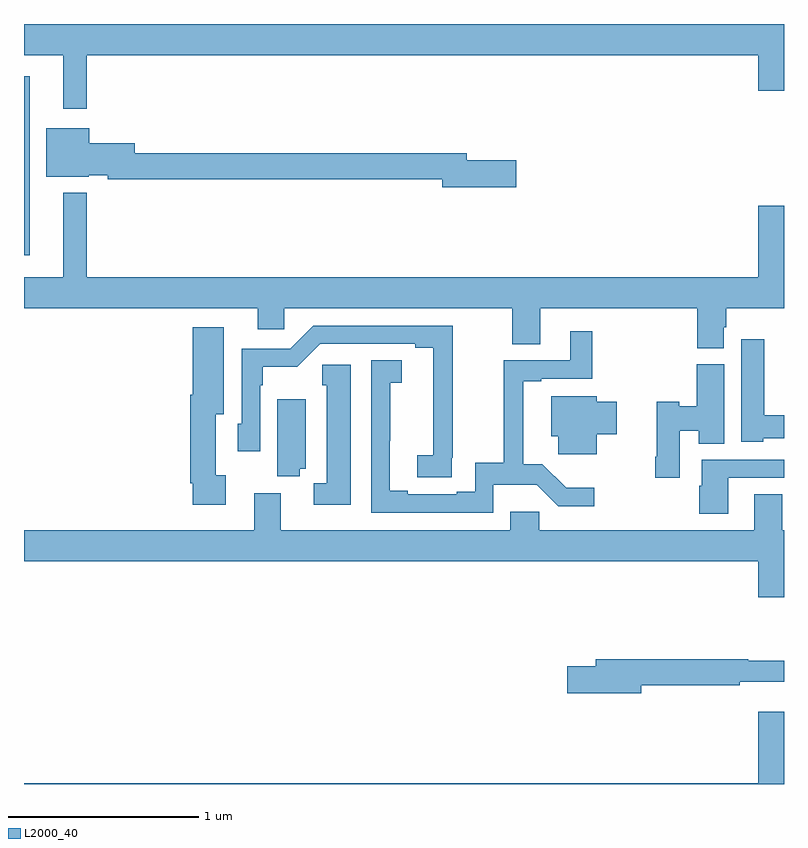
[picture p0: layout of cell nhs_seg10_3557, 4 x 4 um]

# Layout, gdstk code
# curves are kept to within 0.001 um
import gdstk
lib = gdstk.Library(unit=1e-6, precision=1e-09)
def R(c, l, rs):  # rectangles x0, y0, x1, y1
    for r in rs: c.add(gdstk.rectangle(r[:2], r[2:], *l))
def P(c, l, *ps):  # polygons
    for p in ps: c.add(gdstk.Polygon(p, *l))
L2000_40 = (2000, 40)

nhs_seg10_3557 = lib.new_cell('nhs_seg10_3557')
R(nhs_seg10_3557, L2000_40, [(305,1279.283,305.029,1280.224)])
P(nhs_seg10_3557, L2000_40, [(305.329,1280.336),(308.864,1280.336),(308.864,1280.148),(309,1280.148),(309,1280.5),(305,1280.5),(305,1280.336),(305.207,1280.336),(305.207,1280.055),(305.329,1280.055)],
  [(307.591,1279.784),(307.33,1279.784),(307.33,1279.82),(305.584,1279.82),(305.584,1279.873),(305.344,1279.873),(305.344,1279.951),(305.117,1279.951),(305.117,1279.697),(305.34,1279.697),(305.34,1279.703),(305.44,1279.703),(305.44,1279.684),(307.202,1279.684),(307.202,1279.642),(307.591,1279.642)],
  [(308.683,1278.903),(308.696,1278.903),(308.696,1279.004),(309,1279.004),(309,1279.543),(308.864,1279.543),(308.864,1279.168),(305.329,1279.168),(305.329,1279.612),(305.207,1279.612),(305.207,1279.168),(305,1279.168),(305,1279.004),(306.23,1279.004),(306.23,1278.894),(306.369,1278.894),(306.369,1279.004),(307.57,1279.004),(307.57,1278.814),(307.717,1278.814),(307.717,1279.004),(308.543,1279.004),(308.543,1278.793),(308.683,1278.793)],
  [(307.25,1278.217),(307.256,1278.217),(307.256,1278.912),(306.522,1278.912),(306.402,1278.792),(306.147,1278.792),(306.147,1278.396),(306.126,1278.396),(306.126,1278.252),(306.243,1278.252),(306.243,1278.599),(306.256,1278.599),(306.256,1278.695),(306.437,1278.695),(306.558,1278.816),(307.058,1278.816),(307.058,1278.796),(307.154,1278.796),(307.153,1278.23),(307.071,1278.23),(307.071,1278.115),(307.25,1278.115)],
  [(306.061,1278.126),(306.01,1278.126),(306.01,1278.446),(306.052,1278.446),(306.052,1278.904),(305.888,1278.904),(305.888,1278.55),(305.876,1278.55),(305.876,1278.082),(305.888,1278.082),(305.888,1277.97),(306.061,1277.97)],
  [(307.47,1278.074),(307.699,1278.074),(307.812,1277.961),(308.002,1277.961),(308.002,1278.058),(307.853,1278.058),(307.727,1278.184),(307.627,1278.184),(307.627,1278.621),(307.723,1278.621),(307.723,1278.633),(307.991,1278.633),(307.991,1278.883),(307.874,1278.883),(307.874,1278.729),(307.525,1278.729),(307.525,1278.191),(307.374,1278.191),(307.374,1278.038),(307.277,1278.038),(307.277,1278.024),(307.021,1278.024),(307.021,1278.044),(306.925,1278.044),(306.925,1278.307),(306.927,1278.307),(306.927,1278.611),(306.988,1278.611),(306.988,1278.731),(306.828,1278.731),(306.828,1277.928),(307.47,1277.928)],
  [(308.892,1278.32),(309,1278.32),(309,1278.442),(308.896,1278.442),(308.896,1278.841),(308.774,1278.841),(308.774,1278.302),(308.892,1278.302)],
  [(308.452,1278.359),(308.552,1278.359),(308.552,1278.292),(308.686,1278.292),(308.686,1278.708),(308.54,1278.708),(308.54,1278.489),(308.448,1278.489),(308.448,1278.512),(308.33,1278.512),(308.33,1278.223),(308.323,1278.223),(308.323,1278.111),(308.452,1278.111)],
  [(306.721,1278.706),(306.571,1278.706),(306.571,1278.6),(306.593,1278.6),(306.593,1278.084),(306.525,1278.084),(306.525,1277.969),(306.721,1277.969)],
  [(308.014,1278.341),(308.119,1278.341),(308.119,1278.512),(308.014,1278.512),(308.014,1278.541),(307.775,1278.541),(307.775,1278.329),(307.811,1278.329),(307.811,1278.236),(308.014,1278.236)],
  [(306.452,1278.158),(306.484,1278.158),(306.484,1278.526),(306.332,1278.526),(306.332,1278.121),(306.452,1278.121)],
  [(308.707,1278.111),(309,1278.111),(309,1278.207),(308.567,1278.207),(308.567,1278.069),(308.555,1278.069),(308.555,1277.922),(308.707,1277.922)],
  [(309,1277.836),(308.991,1277.836),(308.991,1278.026),(308.843,1278.026),(308.843,1277.836),(307.711,1277.836),(307.711,1277.934),(307.559,1277.934),(307.559,1277.836),(306.352,1277.836),(306.352,1278.031),(306.212,1278.031),(306.212,1277.836),(305,1277.836),(305,1277.672),(308.864,1277.672),(308.864,1277.484),(309,1277.484)],
  [(308.248,1277.02),(308.768,1277.02),(308.768,1277.039),(309,1277.039),(309,1277.149),(308.813,1277.149),(308.813,1277.156),(308.009,1277.156),(308.009,1277.12),(307.86,1277.12),(307.86,1276.978),(308.248,1276.978)],
  [(309,1276.879),(308.864,1276.879),(308.864,1276.504),(305,1276.504),(305,1276.5),(309,1276.5)])

lib.write_gds('nhs_seg10_3557.gds')
